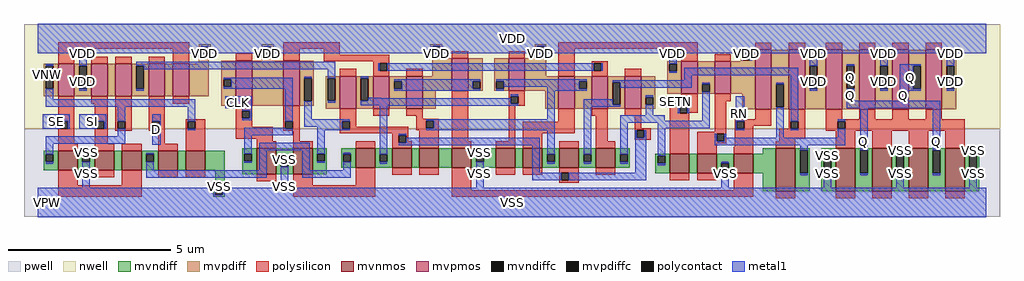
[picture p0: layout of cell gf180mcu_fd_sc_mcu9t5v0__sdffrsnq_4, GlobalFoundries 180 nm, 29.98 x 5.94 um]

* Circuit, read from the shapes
.subckt gf180mcu_fd_sc_mcu9t5v0__sdffrsnq_4 D RN SE SETN SI CLK Q VDD VNW VPW VSS
XM1 VSS SE n1 VPW nfet_06v0 w=0.59u l=0.6u
XM2 n2 SI VSS VPW nfet_06v0 w=0.59u l=0.6u
XM3 n3 SE n2 VPW nfet_06v0 w=0.59u l=0.6u
XM4 n4 D n3 VPW nfet_06v0 w=0.59u l=0.6u
XM5 VSS n1 n4 VPW nfet_06v0 w=0.59u l=0.6u
XM6 VSS CLK n5 VPW nfet_06v0 w=0.79u l=0.6u
XM7 n6 n5 VSS VPW nfet_06v0 w=0.79u l=0.6u
XM8 n7 n5 n3 VPW nfet_06v0 w=0.59u l=0.6u
XM9 n8 n6 n7 VPW nfet_06v0 w=0.59u l=0.6u
XM10 n9 n10 n8 VPW nfet_06v0 w=0.59u l=0.6u
XM11 VSS RN n9 VPW nfet_06v0 w=0.59u l=0.6u
XM12 n11 n7 VSS VPW nfet_06v0 w=0.59u l=0.6u
XM13 n10 SETN n11 VPW nfet_06v0 w=0.59u l=0.6u
XM14 n12 n6 n10 VPW nfet_06v0 w=0.59u l=0.6u
XM15 n13 n5 n12 VPW nfet_06v0 w=0.59u l=0.6u
XM16 n14 SETN n13 VPW nfet_06v0 w=0.59u l=0.6u
XM17 VSS n15 n14 VPW nfet_06v0 w=0.59u l=0.6u
XM18 n16 RN VSS VPW nfet_06v0 w=0.59u l=0.6u
XM19 n15 n12 n16 VPW nfet_06v0 w=1.32u l=0.6u
XM20 Q n15 VSS VPW nfet_06v0 w=1.32u l=0.6u m=4
XM21 VDD SE n1 VNW pfet_06v0 w=1u l=0.5u
XM22 n17 SI VDD VNW pfet_06v0 w=1u l=0.5u
XM23 n18 n1 n17 VNW pfet_06v0 w=1u l=0.5u
XM24 n19 D n18 VNW pfet_06v0 w=1u l=0.5u
XM25 VDD SE n19 VNW pfet_06v0 w=1u l=0.5u
XM26 VDD CLK n5 VNW pfet_06v0 w=1.38u l=0.5u
XM27 n6 n5 VDD VNW pfet_06v0 w=1.38u l=0.5u
XM28 n7 n6 n18 VNW pfet_06v0 w=1u l=0.5u
XM29 n20 n5 n7 VNW pfet_06v0 w=1u l=0.5u
XM30 VDD n10 n20 VNW pfet_06v0 w=1u l=0.5u
XM31 n20 RN VDD VNW pfet_06v0 w=1u l=0.5u
XM32 VDD n7 n10 VNW pfet_06v0 w=1u l=0.5u
XM33 n10 SETN VDD VNW pfet_06v0 w=1u l=0.5u
XM34 n12 n5 n10 VNW pfet_06v0 w=1u l=0.5u
XM35 n13 n6 n12 VNW pfet_06v0 w=1u l=0.5u
XM36 n13 SETN VDD VNW pfet_06v0 w=1u l=0.5u
XM37 VDD n15 n13 VNW pfet_06v0 w=1u l=0.5u
XM38 n15 RN VDD VNW pfet_06v0 w=1.83u l=0.5u
XM39 VDD n12 n15 VNW pfet_06v0 w=1.83u l=0.5u
XM40 Q n15 VDD VNW pfet_06v0 w=1.83u l=0.5u m=4
.ends

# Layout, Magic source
magic
tech gf180mcuD
magscale 1 10
<< nwell >>
rect -86 453 5910 1094
<< pwell >>
rect -86 -86 5910 453
<< mvnmos >>
rect 124 199 244 317
rect 348 199 468 317
rect 516 199 636 317
rect 740 199 860 317
rect 908 199 1028 317
rect 1343 175 1463 333
rect 1567 175 1687 333
rect 1951 215 2071 333
rect 2175 215 2295 333
rect 2343 215 2463 333
rect 2543 215 2663 333
rect 2811 215 2931 333
rect 2979 215 3099 333
rect 3203 215 3323 333
rect 3427 215 3547 333
rect 3881 181 4001 299
rect 4049 181 4169 299
rect 4273 181 4393 299
rect 4533 69 4653 333
rect 4901 69 5021 333
rect 5125 69 5245 333
rect 5349 69 5469 333
rect 5573 69 5693 333
<< mvpmos >>
rect 124 652 224 852
rect 328 652 428 852
rect 476 652 576 852
rect 680 652 780 852
rect 828 652 928 852
rect 1215 596 1315 872
rect 1507 596 1607 872
rect 1855 577 1955 777
rect 2059 577 2159 777
rect 2263 577 2363 777
rect 2543 686 2643 886
rect 2891 686 2991 886
rect 3197 577 3297 777
rect 3401 577 3501 777
rect 3605 577 3705 777
rect 3953 667 4053 867
rect 4157 667 4257 867
rect 4405 573 4505 939
rect 4613 573 4713 939
rect 4841 573 4941 939
rect 5045 573 5145 939
rect 5249 573 5349 939
rect 5453 573 5553 939
<< mvndiff >>
rect 36 296 124 317
rect 36 250 49 296
rect 95 250 124 296
rect 36 199 124 250
rect 244 296 348 317
rect 244 250 273 296
rect 319 250 348 296
rect 244 199 348 250
rect 468 199 516 317
rect 636 296 740 317
rect 636 250 665 296
rect 711 250 740 296
rect 636 199 740 250
rect 860 199 908 317
rect 1028 199 1148 317
rect 1088 108 1148 199
rect 1255 301 1343 333
rect 1255 255 1268 301
rect 1314 255 1343 301
rect 1255 175 1343 255
rect 1463 265 1567 333
rect 1463 219 1492 265
rect 1538 219 1567 265
rect 1463 175 1567 219
rect 1687 301 1775 333
rect 1687 255 1716 301
rect 1762 255 1775 301
rect 1687 175 1775 255
rect 1863 296 1951 333
rect 1863 250 1876 296
rect 1922 250 1951 296
rect 1863 215 1951 250
rect 2071 296 2175 333
rect 2071 250 2100 296
rect 2146 250 2175 296
rect 2071 215 2175 250
rect 2295 215 2343 333
rect 2463 215 2543 333
rect 2663 296 2811 333
rect 2663 250 2692 296
rect 2738 250 2811 296
rect 2663 215 2811 250
rect 2931 215 2979 333
rect 3099 296 3203 333
rect 3099 250 3128 296
rect 3174 250 3203 296
rect 3099 215 3203 250
rect 3323 296 3427 333
rect 3323 250 3352 296
rect 3398 250 3427 296
rect 3323 215 3427 250
rect 3547 296 3635 333
rect 4453 299 4533 333
rect 3547 250 3576 296
rect 3622 250 3635 296
rect 3547 215 3635 250
rect 3793 286 3881 299
rect 3793 240 3806 286
rect 3852 240 3881 286
rect 1076 95 1148 108
rect 1076 49 1089 95
rect 1135 49 1148 95
rect 1076 36 1148 49
rect 3793 181 3881 240
rect 4001 181 4049 299
rect 4169 240 4273 299
rect 4169 194 4198 240
rect 4244 194 4273 240
rect 4169 181 4273 194
rect 4393 181 4533 299
rect 4453 69 4533 181
rect 4653 320 4741 333
rect 4653 180 4682 320
rect 4728 180 4741 320
rect 4653 69 4741 180
rect 4813 294 4901 333
rect 4813 154 4826 294
rect 4872 154 4901 294
rect 4813 69 4901 154
rect 5021 320 5125 333
rect 5021 180 5050 320
rect 5096 180 5125 320
rect 5021 69 5125 180
rect 5245 319 5349 333
rect 5245 179 5274 319
rect 5320 179 5349 319
rect 5245 69 5349 179
rect 5469 320 5573 333
rect 5469 180 5498 320
rect 5544 180 5573 320
rect 5469 69 5573 180
rect 5693 319 5781 333
rect 5693 179 5722 319
rect 5768 179 5781 319
rect 5693 69 5781 179
<< mvpdiff >>
rect 988 958 1060 971
rect 988 912 1001 958
rect 1047 912 1060 958
rect 1375 958 1447 971
rect 988 899 1060 912
rect 988 852 1048 899
rect 1375 912 1388 958
rect 1434 912 1447 958
rect 1375 872 1447 912
rect 2411 959 2483 972
rect 2411 913 2424 959
rect 2470 913 2483 959
rect 3051 959 3123 972
rect 36 839 124 852
rect 36 699 49 839
rect 95 699 124 839
rect 36 652 124 699
rect 224 839 328 852
rect 224 699 253 839
rect 299 699 328 839
rect 224 652 328 699
rect 428 652 476 852
rect 576 839 680 852
rect 576 699 605 839
rect 651 699 680 839
rect 576 652 680 699
rect 780 652 828 852
rect 928 652 1048 852
rect 1127 757 1215 872
rect 1127 711 1140 757
rect 1186 711 1215 757
rect 1127 596 1215 711
rect 1315 596 1507 872
rect 1607 763 1695 872
rect 2411 900 2483 913
rect 2423 886 2483 900
rect 3051 913 3064 959
rect 3110 913 3123 959
rect 3051 886 3123 913
rect 2423 777 2543 886
rect 1607 623 1636 763
rect 1682 623 1695 763
rect 1607 596 1695 623
rect 1767 764 1855 777
rect 1767 624 1780 764
rect 1826 624 1855 764
rect 1767 577 1855 624
rect 1955 764 2059 777
rect 1955 624 1984 764
rect 2030 624 2059 764
rect 1955 577 2059 624
rect 2159 745 2263 777
rect 2159 699 2188 745
rect 2234 699 2263 745
rect 2159 577 2263 699
rect 2363 686 2543 777
rect 2643 745 2731 886
rect 2643 699 2672 745
rect 2718 699 2731 745
rect 2643 686 2731 699
rect 2803 745 2891 886
rect 2803 699 2816 745
rect 2862 699 2891 745
rect 2803 686 2891 699
rect 2991 777 3123 886
rect 4317 921 4405 939
rect 4317 875 4330 921
rect 4376 875 4405 921
rect 4317 867 4405 875
rect 3865 854 3953 867
rect 3865 808 3878 854
rect 3924 808 3953 854
rect 2991 686 3197 777
rect 2363 577 2443 686
rect 3117 577 3197 686
rect 3297 745 3401 777
rect 3297 699 3326 745
rect 3372 699 3401 745
rect 3297 577 3401 699
rect 3501 740 3605 777
rect 3501 600 3530 740
rect 3576 600 3605 740
rect 3501 577 3605 600
rect 3705 648 3793 777
rect 3865 667 3953 808
rect 4053 726 4157 867
rect 4053 680 4082 726
rect 4128 680 4157 726
rect 4053 667 4157 680
rect 4257 667 4405 867
rect 3705 602 3734 648
rect 3780 602 3793 648
rect 3705 577 3793 602
rect 4325 573 4405 667
rect 4505 726 4613 939
rect 4505 586 4534 726
rect 4580 586 4613 726
rect 4505 573 4613 586
rect 4713 839 4841 939
rect 4713 699 4742 839
rect 4788 699 4841 839
rect 4713 573 4841 699
rect 4941 839 5045 939
rect 4941 699 4970 839
rect 5016 699 5045 839
rect 4941 573 5045 699
rect 5145 839 5249 939
rect 5145 699 5174 839
rect 5220 699 5249 839
rect 5145 573 5249 699
rect 5349 839 5453 939
rect 5349 699 5378 839
rect 5424 699 5453 839
rect 5349 573 5453 699
rect 5553 839 5641 939
rect 5553 699 5582 839
rect 5628 699 5641 839
rect 5553 573 5641 699
<< mvndiffc >>
rect 49 250 95 296
rect 273 250 319 296
rect 665 250 711 296
rect 1268 255 1314 301
rect 1492 219 1538 265
rect 1716 255 1762 301
rect 1876 250 1922 296
rect 2100 250 2146 296
rect 2692 250 2738 296
rect 3128 250 3174 296
rect 3352 250 3398 296
rect 3576 250 3622 296
rect 3806 240 3852 286
rect 1089 49 1135 95
rect 4198 194 4244 240
rect 4682 180 4728 320
rect 4826 154 4872 294
rect 5050 180 5096 320
rect 5274 179 5320 319
rect 5498 180 5544 320
rect 5722 179 5768 319
<< mvpdiffc >>
rect 1001 912 1047 958
rect 1388 912 1434 958
rect 2424 913 2470 959
rect 49 699 95 839
rect 253 699 299 839
rect 605 699 651 839
rect 1140 711 1186 757
rect 3064 913 3110 959
rect 1636 623 1682 763
rect 1780 624 1826 764
rect 1984 624 2030 764
rect 2188 699 2234 745
rect 2672 699 2718 745
rect 2816 699 2862 745
rect 4330 875 4376 921
rect 3878 808 3924 854
rect 3326 699 3372 745
rect 3530 600 3576 740
rect 4082 680 4128 726
rect 3734 602 3780 648
rect 4534 586 4580 726
rect 4742 699 4788 839
rect 4970 699 5016 839
rect 5174 699 5220 839
rect 5378 699 5424 839
rect 5582 699 5628 839
<< polysilicon >>
rect 124 944 928 984
rect 124 852 224 944
rect 328 852 428 896
rect 476 852 576 896
rect 680 852 780 896
rect 828 852 928 944
rect 1215 872 1315 916
rect 1507 944 1855 984
rect 1507 872 1607 944
rect 1755 909 1855 944
rect 124 500 224 652
rect 328 608 428 652
rect 124 454 137 500
rect 183 454 224 500
rect 124 361 224 454
rect 348 500 428 608
rect 348 454 361 500
rect 407 454 428 500
rect 348 361 428 454
rect 476 500 576 652
rect 476 454 489 500
rect 535 454 576 500
rect 476 441 576 454
rect 680 500 780 652
rect 828 608 928 652
rect 1755 869 2159 909
rect 2059 856 2159 869
rect 1855 777 1955 821
rect 2059 810 2100 856
rect 2146 810 2159 856
rect 2543 886 2643 930
rect 2891 886 2991 930
rect 2059 777 2159 810
rect 2263 777 2363 821
rect 1215 563 1315 596
rect 1215 517 1256 563
rect 1302 517 1315 563
rect 680 454 702 500
rect 748 454 780 500
rect 680 441 780 454
rect 740 361 780 441
rect 908 500 1028 513
rect 908 454 921 500
rect 967 454 1028 500
rect 124 317 244 361
rect 348 317 468 361
rect 516 317 636 361
rect 740 317 860 361
rect 908 317 1028 454
rect 1215 465 1315 517
rect 1507 500 1607 596
rect 3197 944 4053 984
rect 3197 777 3297 944
rect 3401 856 3501 869
rect 3953 867 4053 944
rect 4405 939 4505 983
rect 4613 939 4713 983
rect 4841 939 4941 983
rect 5045 939 5145 983
rect 5249 939 5349 983
rect 5453 939 5553 983
rect 4157 867 4257 911
rect 3401 810 3414 856
rect 3460 810 3501 856
rect 3401 777 3501 810
rect 3605 777 3705 821
rect 1215 393 1443 465
rect 1507 454 1520 500
rect 1566 454 1607 500
rect 1507 441 1607 454
rect 1343 377 1443 393
rect 1567 377 1607 441
rect 1855 500 1955 577
rect 2059 533 2159 577
rect 2263 533 2363 577
rect 1855 454 1868 500
rect 1914 465 1955 500
rect 2323 515 2363 533
rect 2323 502 2463 515
rect 1914 454 2275 465
rect 1855 425 2275 454
rect 2323 456 2384 502
rect 2430 456 2463 502
rect 2323 445 2463 456
rect 2175 412 2275 425
rect 1343 333 1463 377
rect 1567 333 1687 377
rect 1951 333 2071 377
rect 2175 366 2216 412
rect 2262 377 2275 412
rect 2262 366 2295 377
rect 2175 333 2295 366
rect 2343 333 2463 445
rect 2543 377 2643 686
rect 2891 653 2991 686
rect 2891 607 2904 653
rect 2950 607 2991 653
rect 2891 594 2991 607
rect 2891 377 2931 594
rect 3953 607 4053 667
rect 3881 594 4053 607
rect 3197 497 3297 577
rect 3401 533 3501 577
rect 3605 533 3705 577
rect 2543 333 2663 377
rect 2811 333 2931 377
rect 2979 425 3297 497
rect 2979 333 3099 425
rect 3427 377 3501 533
rect 3665 457 3705 533
rect 3881 548 3942 594
rect 3988 553 4053 594
rect 4157 623 4257 667
rect 3988 548 4001 553
rect 3665 444 3765 457
rect 3665 398 3679 444
rect 3725 398 3765 444
rect 3665 385 3765 398
rect 3203 333 3323 377
rect 3427 333 3547 377
rect 124 107 244 199
rect 348 155 468 199
rect 516 107 636 199
rect 740 155 860 199
rect 908 155 1028 199
rect 3881 299 4001 548
rect 4157 434 4229 623
rect 4405 513 4505 573
rect 4049 422 4229 434
rect 4049 376 4170 422
rect 4216 376 4229 422
rect 4049 363 4229 376
rect 4279 500 4505 513
rect 4279 454 4292 500
rect 4338 473 4505 500
rect 4613 500 4713 573
rect 4338 454 4393 473
rect 4049 299 4169 363
rect 4279 343 4393 454
rect 4613 454 4626 500
rect 4672 454 4713 500
rect 4613 453 4713 454
rect 4553 393 4713 453
rect 4841 513 4941 573
rect 5045 513 5145 573
rect 5249 513 5349 573
rect 5453 513 5553 573
rect 4841 500 5693 513
rect 4841 454 4914 500
rect 4960 454 5693 500
rect 4841 440 5693 454
rect 4553 377 4653 393
rect 4273 299 4393 343
rect 4533 333 4653 377
rect 4901 333 5021 440
rect 5125 333 5245 440
rect 5349 333 5469 440
rect 5573 333 5693 440
rect 1343 131 1463 175
rect 124 35 636 107
rect 1567 107 1687 175
rect 1951 107 2071 215
rect 2175 171 2295 215
rect 2343 171 2463 215
rect 1567 35 2071 107
rect 2543 75 2663 215
rect 2811 171 2931 215
rect 2979 171 3099 215
rect 3203 182 3323 215
rect 3203 136 3216 182
rect 3262 136 3323 182
rect 3427 171 3547 215
rect 3881 137 4001 181
rect 4049 137 4169 181
rect 3203 123 3323 136
rect 4273 75 4393 181
rect 2543 35 4393 75
rect 4533 25 4653 69
rect 4901 25 5021 69
rect 5125 25 5245 69
rect 5349 25 5469 69
rect 5573 25 5693 69
<< polycontact >>
rect 137 454 183 500
rect 361 454 407 500
rect 489 454 535 500
rect 2100 810 2146 856
rect 1256 517 1302 563
rect 702 454 748 500
rect 921 454 967 500
rect 3414 810 3460 856
rect 1520 454 1566 500
rect 1868 454 1914 500
rect 2384 456 2430 502
rect 2216 366 2262 412
rect 2904 607 2950 653
rect 3942 548 3988 594
rect 3679 398 3725 444
rect 4170 376 4216 422
rect 4292 454 4338 500
rect 4626 454 4672 500
rect 4914 454 4960 500
rect 3216 136 3262 182
<< metal1 >>
rect 0 959 5824 1098
rect 0 958 2424 959
rect 0 918 1001 958
rect 49 839 95 850
rect 49 634 95 699
rect 253 839 299 918
rect 990 912 1001 918
rect 1047 918 1388 958
rect 1047 912 1058 918
rect 1377 912 1388 918
rect 1434 918 2424 958
rect 1434 912 1445 918
rect 2470 918 3064 959
rect 2424 902 2470 913
rect 3110 921 5824 959
rect 3110 918 4330 921
rect 3064 902 3110 913
rect 253 688 299 699
rect 605 839 1826 866
rect 651 820 1826 839
rect 1140 757 1566 768
rect 1186 711 1566 757
rect 1140 700 1566 711
rect 605 688 651 699
rect 49 588 967 634
rect 30 500 194 542
rect 30 454 137 500
rect 183 454 194 500
rect 254 500 418 542
rect 254 454 361 500
rect 407 454 418 500
rect 489 500 535 588
rect 489 408 535 454
rect 49 362 535 408
rect 702 500 754 542
rect 748 454 754 500
rect 49 296 95 362
rect 702 354 754 454
rect 921 500 967 588
rect 1150 578 1314 654
rect 1256 563 1314 578
rect 1302 517 1314 563
rect 1256 506 1314 517
rect 1520 500 1566 700
rect 921 443 967 454
rect 1268 454 1520 460
rect 1636 763 1682 774
rect 1636 511 1682 623
rect 1780 764 1826 820
rect 2089 810 2100 856
rect 2146 810 3414 856
rect 3460 810 3471 856
rect 3878 854 3924 918
rect 4319 875 4330 918
rect 4376 918 5824 921
rect 4376 875 4387 918
rect 4742 839 4788 918
rect 3878 797 3924 808
rect 3970 783 4672 829
rect 1780 613 1826 624
rect 1984 764 2030 775
rect 2188 745 2718 756
rect 2234 699 2672 745
rect 2188 688 2718 699
rect 2816 745 3372 756
rect 3970 751 4016 783
rect 2862 710 3326 745
rect 2816 688 2862 699
rect 3128 699 3326 710
rect 3128 688 3372 699
rect 3530 740 4016 751
rect 2904 653 2950 664
rect 2030 642 2110 643
rect 2030 624 2904 642
rect 1984 607 2904 624
rect 1984 597 2950 607
rect 2100 596 2950 597
rect 1636 500 1914 511
rect 1636 465 1868 500
rect 1268 414 1566 454
rect 1716 454 1868 465
rect 1716 443 1914 454
rect 49 239 95 250
rect 273 296 319 307
rect 273 90 319 250
rect 665 296 711 307
rect 665 198 711 250
rect 1268 301 1314 414
rect 1268 244 1314 255
rect 1360 322 1670 368
rect 1360 198 1406 322
rect 665 152 1406 198
rect 1492 265 1538 276
rect 1089 95 1135 106
rect 0 49 1089 90
rect 1492 90 1538 219
rect 1624 198 1670 322
rect 1716 301 1762 443
rect 1716 244 1762 255
rect 1876 296 1922 307
rect 1876 198 1922 250
rect 2100 296 2146 596
rect 3128 513 3174 688
rect 2384 502 3174 513
rect 2430 456 3174 502
rect 2384 445 3174 456
rect 2216 412 2262 423
rect 2262 366 3082 399
rect 2216 353 3082 366
rect 2100 239 2146 250
rect 2692 296 2738 307
rect 1624 152 1922 198
rect 2692 90 2738 250
rect 3036 182 3082 353
rect 3128 296 3174 445
rect 3128 239 3174 250
rect 3352 600 3530 635
rect 3576 705 4016 740
rect 4082 726 4128 737
rect 3352 589 3576 600
rect 3734 648 3780 659
rect 3352 296 3398 589
rect 3734 536 3780 602
rect 3826 594 4002 654
rect 3826 590 3942 594
rect 3931 548 3942 590
rect 3988 548 4002 594
rect 3352 239 3398 250
rect 3576 502 3851 536
rect 4082 502 4128 680
rect 4534 726 4580 737
rect 3576 490 4128 502
rect 3576 296 3622 490
rect 3806 456 4128 490
rect 4286 500 4338 654
rect 3576 239 3622 250
rect 3668 398 3679 444
rect 3725 398 3736 444
rect 3668 182 3736 398
rect 3806 286 3852 456
rect 4286 454 4292 500
rect 4286 443 4338 454
rect 4159 376 4170 422
rect 4216 397 4227 422
rect 4534 397 4580 586
rect 4626 500 4672 783
rect 4742 688 4788 699
rect 4970 839 5016 850
rect 4970 624 5016 699
rect 5174 839 5220 918
rect 5174 688 5220 699
rect 5294 839 5424 850
rect 5294 699 5378 839
rect 5294 688 5424 699
rect 5582 839 5628 918
rect 5582 688 5628 699
rect 5294 624 5346 688
rect 4970 578 5544 624
rect 4626 443 4672 454
rect 4914 500 4960 511
rect 4914 397 4960 454
rect 4216 376 4960 397
rect 4159 351 4960 376
rect 4682 320 4728 351
rect 3806 229 3852 240
rect 4198 240 4244 251
rect 3036 136 3216 182
rect 3262 136 3736 182
rect 4198 90 4244 194
rect 5050 320 5096 578
rect 4682 169 4728 180
rect 4826 294 4872 305
rect 5050 169 5096 180
rect 5274 319 5320 330
rect 4826 90 4872 154
rect 5274 90 5320 179
rect 5498 320 5544 578
rect 5498 169 5544 180
rect 5722 319 5768 330
rect 5722 90 5768 179
rect 1135 49 5824 90
rect 0 -90 5824 49
<< labels >>
flabel metal1 s 1150 578 1314 654 0 FreeSans 200 0 0 0 CLK
port 6 nsew clock input
flabel metal1 s 702 354 754 542 0 FreeSans 200 0 0 0 D
port 1 nsew default input
flabel metal1 s 5294 688 5424 850 0 FreeSans 200 0 0 0 Q
port 7 nsew default output
flabel metal1 s 4286 443 4338 654 0 FreeSans 200 0 0 0 RN
port 2 nsew default input
flabel metal1 s 30 454 194 542 0 FreeSans 200 0 0 0 SE
port 3 nsew default input
flabel metal1 s 3826 590 4002 654 0 FreeSans 200 0 0 0 SETN
port 4 nsew default input
flabel metal1 s 254 454 418 542 0 FreeSans 200 0 0 0 SI
port 5 nsew default input
flabel metal1 s 0 918 5824 1098 0 FreeSans 200 0 0 0 VDD
port 8 nsew power bidirectional abutment
flabel metal1 s 5722 307 5768 330 0 FreeSans 200 0 0 0 VSS
port 11 nsew ground bidirectional abutment
flabel nwell s 10 734 110 834 0 FreeSans 400 0 0 0 VNW
port 9 nsew power bidirectional
flabel pwell s 10 -50 110 50 0 FreeSans 400 0 0 0 VPW
port 10 nsew ground bidirectional
rlabel metal1 s 3931 548 4002 590 1 SETN
port 4 nsew default input
rlabel metal1 s 1256 506 1314 578 1 CLK
port 6 nsew clock input
rlabel metal1 s 4970 688 5016 850 1 Q
port 7 nsew default output
rlabel metal1 s 5294 624 5346 688 1 Q
port 7 nsew default output
rlabel metal1 s 4970 624 5016 688 1 Q
port 7 nsew default output
rlabel metal1 s 4970 578 5544 624 1 Q
port 7 nsew default output
rlabel metal1 s 5498 169 5544 578 1 Q
port 7 nsew default output
rlabel metal1 s 5050 169 5096 578 1 Q
port 7 nsew default output
rlabel metal1 s 5582 912 5628 918 1 VDD
port 8 nsew power bidirectional abutment
rlabel metal1 s 5174 912 5220 918 1 VDD
port 8 nsew power bidirectional abutment
rlabel metal1 s 4742 912 4788 918 1 VDD
port 8 nsew power bidirectional abutment
rlabel metal1 s 4319 912 4387 918 1 VDD
port 8 nsew power bidirectional abutment
rlabel metal1 s 3878 912 3924 918 1 VDD
port 8 nsew power bidirectional abutment
rlabel metal1 s 3064 912 3110 918 1 VDD
port 8 nsew power bidirectional abutment
rlabel metal1 s 2424 912 2470 918 1 VDD
port 8 nsew power bidirectional abutment
rlabel metal1 s 1377 912 1445 918 1 VDD
port 8 nsew power bidirectional abutment
rlabel metal1 s 990 912 1058 918 1 VDD
port 8 nsew power bidirectional abutment
rlabel metal1 s 253 912 299 918 1 VDD
port 8 nsew power bidirectional abutment
rlabel metal1 s 5582 902 5628 912 1 VDD
port 8 nsew power bidirectional abutment
rlabel metal1 s 5174 902 5220 912 1 VDD
port 8 nsew power bidirectional abutment
rlabel metal1 s 4742 902 4788 912 1 VDD
port 8 nsew power bidirectional abutment
rlabel metal1 s 4319 902 4387 912 1 VDD
port 8 nsew power bidirectional abutment
rlabel metal1 s 3878 902 3924 912 1 VDD
port 8 nsew power bidirectional abutment
rlabel metal1 s 3064 902 3110 912 1 VDD
port 8 nsew power bidirectional abutment
rlabel metal1 s 2424 902 2470 912 1 VDD
port 8 nsew power bidirectional abutment
rlabel metal1 s 253 902 299 912 1 VDD
port 8 nsew power bidirectional abutment
rlabel metal1 s 5582 875 5628 902 1 VDD
port 8 nsew power bidirectional abutment
rlabel metal1 s 5174 875 5220 902 1 VDD
port 8 nsew power bidirectional abutment
rlabel metal1 s 4742 875 4788 902 1 VDD
port 8 nsew power bidirectional abutment
rlabel metal1 s 4319 875 4387 902 1 VDD
port 8 nsew power bidirectional abutment
rlabel metal1 s 3878 875 3924 902 1 VDD
port 8 nsew power bidirectional abutment
rlabel metal1 s 253 875 299 902 1 VDD
port 8 nsew power bidirectional abutment
rlabel metal1 s 5582 797 5628 875 1 VDD
port 8 nsew power bidirectional abutment
rlabel metal1 s 5174 797 5220 875 1 VDD
port 8 nsew power bidirectional abutment
rlabel metal1 s 4742 797 4788 875 1 VDD
port 8 nsew power bidirectional abutment
rlabel metal1 s 3878 797 3924 875 1 VDD
port 8 nsew power bidirectional abutment
rlabel metal1 s 253 797 299 875 1 VDD
port 8 nsew power bidirectional abutment
rlabel metal1 s 5582 688 5628 797 1 VDD
port 8 nsew power bidirectional abutment
rlabel metal1 s 5174 688 5220 797 1 VDD
port 8 nsew power bidirectional abutment
rlabel metal1 s 4742 688 4788 797 1 VDD
port 8 nsew power bidirectional abutment
rlabel metal1 s 253 688 299 797 1 VDD
port 8 nsew power bidirectional abutment
rlabel metal1 s 5274 307 5320 330 1 VSS
port 11 nsew ground bidirectional abutment
rlabel metal1 s 5722 305 5768 307 1 VSS
port 11 nsew ground bidirectional abutment
rlabel metal1 s 5274 305 5320 307 1 VSS
port 11 nsew ground bidirectional abutment
rlabel metal1 s 2692 305 2738 307 1 VSS
port 11 nsew ground bidirectional abutment
rlabel metal1 s 273 305 319 307 1 VSS
port 11 nsew ground bidirectional abutment
rlabel metal1 s 5722 276 5768 305 1 VSS
port 11 nsew ground bidirectional abutment
rlabel metal1 s 5274 276 5320 305 1 VSS
port 11 nsew ground bidirectional abutment
rlabel metal1 s 4826 276 4872 305 1 VSS
port 11 nsew ground bidirectional abutment
rlabel metal1 s 2692 276 2738 305 1 VSS
port 11 nsew ground bidirectional abutment
rlabel metal1 s 273 276 319 305 1 VSS
port 11 nsew ground bidirectional abutment
rlabel metal1 s 5722 251 5768 276 1 VSS
port 11 nsew ground bidirectional abutment
rlabel metal1 s 5274 251 5320 276 1 VSS
port 11 nsew ground bidirectional abutment
rlabel metal1 s 4826 251 4872 276 1 VSS
port 11 nsew ground bidirectional abutment
rlabel metal1 s 2692 251 2738 276 1 VSS
port 11 nsew ground bidirectional abutment
rlabel metal1 s 1492 251 1538 276 1 VSS
port 11 nsew ground bidirectional abutment
rlabel metal1 s 273 251 319 276 1 VSS
port 11 nsew ground bidirectional abutment
rlabel metal1 s 5722 106 5768 251 1 VSS
port 11 nsew ground bidirectional abutment
rlabel metal1 s 5274 106 5320 251 1 VSS
port 11 nsew ground bidirectional abutment
rlabel metal1 s 4826 106 4872 251 1 VSS
port 11 nsew ground bidirectional abutment
rlabel metal1 s 4198 106 4244 251 1 VSS
port 11 nsew ground bidirectional abutment
rlabel metal1 s 2692 106 2738 251 1 VSS
port 11 nsew ground bidirectional abutment
rlabel metal1 s 1492 106 1538 251 1 VSS
port 11 nsew ground bidirectional abutment
rlabel metal1 s 273 106 319 251 1 VSS
port 11 nsew ground bidirectional abutment
rlabel metal1 s 5722 90 5768 106 1 VSS
port 11 nsew ground bidirectional abutment
rlabel metal1 s 5274 90 5320 106 1 VSS
port 11 nsew ground bidirectional abutment
rlabel metal1 s 4826 90 4872 106 1 VSS
port 11 nsew ground bidirectional abutment
rlabel metal1 s 4198 90 4244 106 1 VSS
port 11 nsew ground bidirectional abutment
rlabel metal1 s 2692 90 2738 106 1 VSS
port 11 nsew ground bidirectional abutment
rlabel metal1 s 1492 90 1538 106 1 VSS
port 11 nsew ground bidirectional abutment
rlabel metal1 s 1089 90 1135 106 1 VSS
port 11 nsew ground bidirectional abutment
rlabel metal1 s 273 90 319 106 1 VSS
port 11 nsew ground bidirectional abutment
rlabel metal1 s 0 -90 5824 90 1 VSS
port 11 nsew ground bidirectional abutment
<< properties >>
string FIXED_BBOX 0 0 5824 1008
string GDS_END 405224
string GDS_FILE $PDKPATH/libs.ref/gf180mcu_fd_sc_mcu9t5v0/gds/gf180mcu_fd_sc_mcu9t5v0.gds
string GDS_START 392184
string LEFclass core
string LEFsite GF018hv5v_green_sc9
string LEFsymmetry X Y
<< end >>
